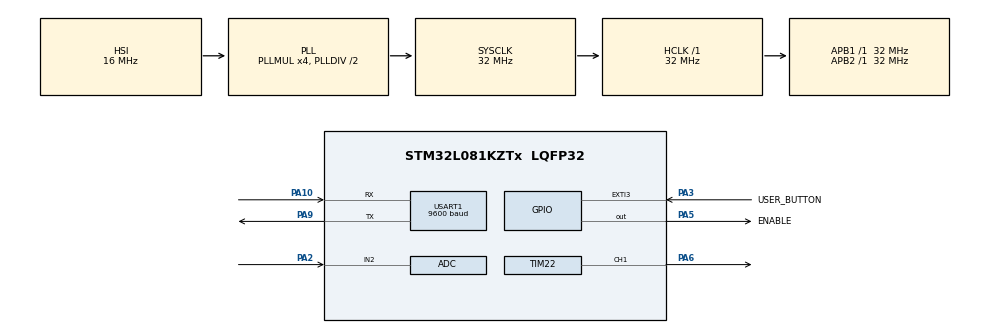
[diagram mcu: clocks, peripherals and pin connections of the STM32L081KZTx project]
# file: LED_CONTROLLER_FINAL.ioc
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Mcu.Family=STM32L0
Mcu.Name=STM32L081KZTx
Mcu.Package=LQFP32
NVIC.EXTI2_3_IRQn=true\:0\:0\:false\:false\:true\:true\:true
NVIC.TIM3_IRQn=true\:0\:0\:false\:false\:true\:true\:true
NVIC.USART1_IRQn=true\:0\:0\:false\:false\:true\:true\:true
PA10.Mode=Asynchronous
PA10.Signal=USART1_RX
PA13.Mode=Serial_Wire
PA13.Signal=SYS_SWDIO
PA14.Mode=Serial_Wire
PA14.Signal=SYS_SWCLK
PA2.Mode=IN2
PA2.Signal=ADC_IN2
PA3.GPIO_Label=USER_BUTTON
PA3.GPIO_ModeDefaultEXTI=GPIO_MODE_IT_FALLING
PA3.GPIO_PuPd=GPIO_PULLUP
PA3.Signal=GPXTI3
PA5.GPIO_Label=ENABLE
PA5.Signal=GPIO_Output
PA6.Signal=S_TIM22_CH1
PA9.Mode=Asynchronous
PA9.Signal=USART1_TX
ProjectManager.HeapSize=0x200
ProjectManager.StackSize=0x400
ProjectManager.TargetToolchain=SW4STM32
RCC.AHBFreq_Value=32000000
RCC.APB1Freq_Value=32000000
RCC.APB1TimFreq_Value=32000000
RCC.APB2Freq_Value=32000000
RCC.APB2TimFreq_Value=32000000
RCC.HCLKFreq_Value=32000000
RCC.HSI16_VALUE=16000000
RCC.HSI_VALUE=16000000
RCC.LSE_VALUE=32768
RCC.MSI_VALUE=2097000
RCC.PLLMUL=RCC_PLLMUL_4
RCC.SYSCLKFreq_VALUE=32000000
RCC.SYSCLKSource=RCC_SYSCLKSOURCE_PLLCLK
RCC.VCOOutputFreq_Value=64000000
SH.S_TIM22_CH1.0=TIM22_CH1,PWM Generation1 CH1
TIM22.AutoReloadPreload=TIM_AUTORELOAD_PRELOAD_ENABLE
TIM22.Channel-PWM\ Generation1\ CH1=TIM_CHANNEL_1
TIM22.Period=129
TIM22.Prescaler=1024
TIM3.AutoReloadPreload=TIM_AUTORELOAD_PRELOAD_ENABLE
TIM3.Period=5000
TIM3.Prescaler=32000
USART1.BaudRate=9600
USART1.VirtualMode-Asynchronous=VM_ASYNC
VP_TIM22_VS_ClockSourceINT.Mode=Internal
VP_TIM3_VS_ClockSourceINT.Mode=Internal
board=custom

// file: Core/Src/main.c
/* USER CODE BEGIN Header */
/**
  ******************************************************************************
  * @file           : main.c
  * @brief          : Main program body
  ******************************************************************************
  * @attention
  *
  * <h2><center>&copy; Copyright (c) 2021 STMicroelectronics.
  * All rights reserved.</center></h2>
  *
  * This software component is licensed by ST under BSD 3-Clause license,
  * the "License"; You may not use this file except in compliance with the
  * License. You may obtain a copy of the License at:
  *                        opensource.org/licenses/BSD-3-Clause
  *
  ******************************************************************************
  */
/* USER CODE END Header */
#include "main.h"

/* USER CODE BEGIN Includes */
#include "morse.h"
/* USER CODE END Includes */

/* USER CODE BEGIN PM */
#define Off 0		//0% power
#define Low 1		//25% power
#define Medium 2	//50% power
#define High 3		//75% power
#define Turbo 5		//100% power
#define MORSE 4
/* USER CODE END PM */

ADC_HandleTypeDef hadc;

TIM_HandleTypeDef htim3;
TIM_HandleTypeDef htim22;

UART_HandleTypeDef huart1;

/* USER CODE BEGIN PV */
uint8_t ucCharBuf = 0;		//Temporary buffer for each ASCII character
uint8_t ucCharStock[128];	//Buffer where all the ASCII characters are stored
uint16_t usDataArrived = 0;	//Variable will be set when all the data is received
uint16_t usSize = 0;		//Tracks the number of received ASCII characters

uint8_t ucMODE = Off; 		//Stores the mode current mode we are in
uint8_t uclastMode = Off; 	//Stores the mode we were in before the interrupt triggered by the switch
int8_t iPulse = 1; 			//Control variable to get into the full power mode
uint16_t usLastTime = 800;	//Stores the time between interrupts triggered by the switch
uint16_t usTime = 0; 		//Stores the amount of times TIM3 has rolled over
uint16_t AD_RES = 0;		//Stores the result of the adc measurement
uint16_t usLastCheck = 0; 	//Variable to signal for the adc to check the temp
/* USER CODE END PV */

void SystemClock_Config(void);
static void MX_GPIO_Init(void);
static void MX_TIM3_Init(void);
static void MX_TIM22_Init(void);
static void MX_USART1_UART_Init(void);
static void MX_ADC_Init(void);

int main(void)
{

  /* MCU Configuration--------------------------------------------------------*/

  /* Reset of all peripherals, Initializes the Flash interface and the Systick. */
  HAL_Init();

  /* Configure the system clock */
  SystemClock_Config();

  /* Initialize all configured peripherals */
  MX_GPIO_Init();
  MX_TIM3_Init();
  MX_TIM22_Init();
  MX_USART1_UART_Init();
  MX_ADC_Init();
  /* USER CODE BEGIN 2 */
  HAL_UART_Receive_IT( &huart1, &ucCharBuf, 1);
  HAL_TIM_PWM_Start(&htim22, TIM_CHANNEL_1);	//Start PWM generation
  HAL_TIM_Base_Start_IT(&htim3);
  HAL_GPIO_WritePin(ENABLE_GPIO_Port, ENABLE_Pin, GPIO_PIN_RESET);
  HAL_ADC_Start(&hadc);
  /* USER CODE END 2 */

  /* Infinite loop */
  while (1)
  {

    /* USER CODE BEGIN 3 */
	  /*if( usTime != usLastCheck )
	  	{
	  		HAL_ADC_PollForConversion(&hadc, 1);
	  		AD_RES = HAL_ADC_GetValue(&hadc);
	  		if(AD_RES > 2749)
	  		{
	  			ucMODE++;
	  			iPulse = 0;
	  			usTime = 0;
	  			TIM22->CCR1 = 0;
	  			HAL_Delay(400);
	  			TIM22->CCR1 = 131;
	  			HAL_Delay(400);
	  			TIM22->CCR1 = 0;
	  			HAL_Delay(400);
	  			TIM22->CCR1 = 131;
	  			HAL_Delay(400);
	  			TIM22->CCR1 = 0;
	  			HAL_Delay(400);
	  			TIM22->CCR1 = 131;
	  			HAL_Delay(400);
	  		}
	  		usLastCheck = usTime;
	  		HAL_Delay(5);
	  	}*/
	  if(uclastMode != ucMODE)
	  	{
	  		if( (  HAL_GetTick() - usLastTime ) < 400 )
	  		{
	  			ucMODE = Turbo;
	  			iPulse = -1;
	  		}
	  		else
	  		{
	  			if( ( uclastMode == MORSE ) || ( uclastMode == Turbo ))
	  			{
	  				for(uint8_t x = 124; x > 90; x--)
	  				{
	  					TIM22->CCR1 = x;
	  					HAL_Delay(100);
	  				}
	  			}
	  		}

	  		usLastTime = HAL_GetTick();
	  		uclastMode = ucMODE;
	  		iPulse++;
	  		TIM22->CCR1 = 0;
	  		HAL_Delay(5);
	  	  }
	  	  if(ucMODE == Off)
	  	  {
	  		  HAL_GPIO_WritePin(ENABLE_GPIO_Port, ENABLE_Pin, GPIO_PIN_SET);	//Disable LED driver
	  		  TIM22->CCR1 = 0; 								//Set Duty Cycle to 0%
	  	  }
	  	  if(ucMODE == Low)
	  	  {
	  		  HAL_GPIO_WritePin(ENABLE_GPIO_Port, ENABLE_Pin, GPIO_PIN_RESET);	//Enable LED driver
	  		  TIM22->CCR1 = 116; 							//Set Duty Cycle to 25%
	  	  }
	  	  if(ucMODE == Medium)
	  	  {
	  		  TIM22->CCR1 = 119; 							//Set Duty Cycle to 50%
	  	  }
	  	  if(ucMODE == High)
	  	  {
	  		  TIM22->CCR1 = 124; 							//Set Duty Cycle to 75%
	  	  }
	  	  if( ucMODE == MORSE )
	  	  {
	  		  uclastMode = ucMODE;
	  		  while( ( usDataArrived == 0 )  && ( ucMODE == uclastMode ) )
	  		  {
	  			  for( uint8_t x = 113; x < 123; x++ )
	  			  {
	  				  TIM22->CCR1 = x;
	  				  HAL_Delay(100);
	  			  }
	  			  for( uint8_t i = 123; i > 112; i-- )
	  			  {
	  				  TIM22->CCR1 = i;
	  				  HAL_Delay(100);
	  			  }
	  		  }
	  		  if( usDataArrived == 1 )
	  		  {
	  			  TIM22->CCR1 = 0;
	  			  vMorseConvert( ucCharStock, usSize );
	  			  for(uint8_t x = 0; x < usSize; x++)
	  			  {
	  				  ucCharStock[x] = 0;
	  			  }
	  			  usSize = 0;
	  			  //vMorseClearBuf( ucCharStock, usSize );
	  			  usDataArrived = 0;
	  		  }
	  	  }
	  	  if( ( ucMODE == Turbo ) && ( iPulse == 0 ) )
	  	  {
	  		  TIM22->CCR1 = 131; 							//Set Duty Cycle to 100%
	  	  }
	  	  if( (ucMODE == Turbo ) && ( usTime >= 24 ) )	//2 min ellapsed
	  	  {
	  		  ucMODE = Off;
	  		  iPulse = 0;
	  		  usTime = 0;
	  	  }
	  	  if( ( ucMODE == Turbo ) && (iPulse != 0 ) )
	  	  {
	  		  ucMODE = Off;
	  		  iPulse = 0;
	  		  usTime = 0;
	  	  }
	  	  if( ucMODE > Turbo )
	  	  {
	  		  ucMODE = Off;
	  		  iPulse = 0;
	  		  usTime = 0;
	  	  }
  }
  /* USER CODE END 3 */
}

void SystemClock_Config(void)
{
  RCC_OscInitTypeDef RCC_OscInitStruct = {0};
  RCC_ClkInitTypeDef RCC_ClkInitStruct = {0};
  RCC_PeriphCLKInitTypeDef PeriphClkInit = {0};

  /** Configure the main internal regulator output voltage
  */
  __HAL_PWR_VOLTAGESCALING_CONFIG(PWR_REGULATOR_VOLTAGE_SCALE1);
  /** Initializes the RCC Oscillators according to the specified parameters
  * in the RCC_OscInitTypeDef structure.
  */
  RCC_OscInitStruct.OscillatorType = RCC_OSCILLATORTYPE_HSI;
  RCC_OscInitStruct.HSIState = RCC_HSI_ON;
  RCC_OscInitStruct.HSICalibrationValue = RCC_HSICALIBRATION_DEFAULT;
  RCC_OscInitStruct.PLL.PLLState = RCC_PLL_ON;
  RCC_OscInitStruct.PLL.PLLSource = RCC_PLLSOURCE_HSI;
  RCC_OscInitStruct.PLL.PLLMUL = RCC_PLLMUL_4;
  RCC_OscInitStruct.PLL.PLLDIV = RCC_PLLDIV_2;
  if (HAL_RCC_OscConfig(&RCC_OscInitStruct) != HAL_OK)
  {
    Error_Handler();
  }
  /** Initializes the CPU, AHB and APB buses clocks
  */
  RCC_ClkInitStruct.ClockType = RCC_CLOCKTYPE_HCLK|RCC_CLOCKTYPE_SYSCLK
                              |RCC_CLOCKTYPE_PCLK1|RCC_CLOCKTYPE_PCLK2;
  RCC_ClkInitStruct.SYSCLKSource = RCC_SYSCLKSOURCE_PLLCLK;
  RCC_ClkInitStruct.AHBCLKDivider = RCC_SYSCLK_DIV1;
  RCC_ClkInitStruct.APB1CLKDivider = RCC_HCLK_DIV1;
  RCC_ClkInitStruct.APB2CLKDivider = RCC_HCLK_DIV1;

  if (HAL_RCC_ClockConfig(&RCC_ClkInitStruct, FLASH_LATENCY_1) != HAL_OK)
  {
    Error_Handler();
  }
  PeriphClkInit.PeriphClockSelection = RCC_PERIPHCLK_USART1;
  PeriphClkInit.Usart1ClockSelection = RCC_USART1CLKSOURCE_PCLK2;
  if (HAL_RCCEx_PeriphCLKConfig(&PeriphClkInit) != HAL_OK)
  {
    Error_Handler();
  }
}

static void MX_ADC_Init(void)
{

  ADC_ChannelConfTypeDef sConfig = {0};

  /** Configure the global features of the ADC (Clock, Resolution, Data Alignment and number of conversion)
  */
  hadc.Instance = ADC1;
  hadc.Init.OversamplingMode = DISABLE;
  hadc.Init.ClockPrescaler = ADC_CLOCK_SYNC_PCLK_DIV2;
  hadc.Init.Resolution = ADC_RESOLUTION_12B;
  hadc.Init.SamplingTime = ADC_SAMPLETIME_1CYCLE_5;
  hadc.Init.ScanConvMode = ADC_SCAN_DIRECTION_FORWARD;
  hadc.Init.DataAlign = ADC_DATAALIGN_RIGHT;
  hadc.Init.ContinuousConvMode = DISABLE;
  hadc.Init.DiscontinuousConvMode = DISABLE;
  hadc.Init.ExternalTrigConvEdge = ADC_EXTERNALTRIGCONVEDGE_NONE;
  hadc.Init.ExternalTrigConv = ADC_SOFTWARE_START;
  hadc.Init.DMAContinuousRequests = DISABLE;
  hadc.Init.EOCSelection = ADC_EOC_SINGLE_CONV;
  hadc.Init.Overrun = ADC_OVR_DATA_PRESERVED;
  hadc.Init.LowPowerAutoWait = DISABLE;
  hadc.Init.LowPowerFrequencyMode = DISABLE;
  hadc.Init.LowPowerAutoPowerOff = DISABLE;
  if (HAL_ADC_Init(&hadc) != HAL_OK)
  {
    Error_Handler();
  }
  /** Configure for the selected ADC regular channel to be converted.
  */
  sConfig.Channel = ADC_CHANNEL_2;
  sConfig.Rank = ADC_RANK_CHANNEL_NUMBER;
  if (HAL_ADC_ConfigChannel(&hadc, &sConfig) != HAL_OK)
  {
    Error_Handler();
  }

}

static void MX_TIM3_Init(void)
{

  TIM_ClockConfigTypeDef sClockSourceConfig = {0};
  TIM_MasterConfigTypeDef sMasterConfig = {0};

  htim3.Instance = TIM3;
  htim3.Init.Prescaler = 32000;
  htim3.Init.CounterMode = TIM_COUNTERMODE_UP;
  htim3.Init.Period = 5000;
  htim3.Init.ClockDivision = TIM_CLOCKDIVISION_DIV1;
  htim3.Init.AutoReloadPreload = TIM_AUTORELOAD_PRELOAD_ENABLE;
  if (HAL_TIM_Base_Init(&htim3) != HAL_OK)
  {
    Error_Handler();
  }
  sClockSourceConfig.ClockSource = TIM_CLOCKSOURCE_INTERNAL;
  if (HAL_TIM_ConfigClockSource(&htim3, &sClockSourceConfig) != HAL_OK)
  {
    Error_Handler();
  }
  sMasterConfig.MasterOutputTrigger = TIM_TRGO_RESET;
  sMasterConfig.MasterSlaveMode = TIM_MASTERSLAVEMODE_DISABLE;
  if (HAL_TIMEx_MasterConfigSynchronization(&htim3, &sMasterConfig) != HAL_OK)
  {
    Error_Handler();
  }

}

static void MX_TIM22_Init(void)
{

  TIM_ClockConfigTypeDef sClockSourceConfig = {0};
  TIM_MasterConfigTypeDef sMasterConfig = {0};
  TIM_OC_InitTypeDef sConfigOC = {0};

  htim22.Instance = TIM22;
  htim22.Init.Prescaler = 1024;
  htim22.Init.CounterMode = TIM_COUNTERMODE_UP;
  htim22.Init.Period = 129;
  htim22.Init.ClockDivision = TIM_CLOCKDIVISION_DIV1;
  htim22.Init.AutoReloadPreload = TIM_AUTORELOAD_PRELOAD_ENABLE;
  if (HAL_TIM_Base_Init(&htim22) != HAL_OK)
  {
    Error_Handler();
  }
  sClockSourceConfig.ClockSource = TIM_CLOCKSOURCE_INTERNAL;
  if (HAL_TIM_ConfigClockSource(&htim22, &sClockSourceConfig) != HAL_OK)
  {
    Error_Handler();
  }
  if (HAL_TIM_PWM_Init(&htim22) != HAL_OK)
  {
    Error_Handler();
  }
  sMasterConfig.MasterOutputTrigger = TIM_TRGO_RESET;
  sMasterConfig.MasterSlaveMode = TIM_MASTERSLAVEMODE_DISABLE;
  if (HAL_TIMEx_MasterConfigSynchronization(&htim22, &sMasterConfig) != HAL_OK)
  {
    Error_Handler();
  }
  sConfigOC.OCMode = TIM_OCMODE_PWM1;
  sConfigOC.Pulse = 0;
  sConfigOC.OCPolarity = TIM_OCPOLARITY_HIGH;
  sConfigOC.OCFastMode = TIM_OCFAST_DISABLE;
  if (HAL_TIM_PWM_ConfigChannel(&htim22, &sConfigOC, TIM_CHANNEL_1) != HAL_OK)
  {
    Error_Handler();
  }
  HAL_TIM_MspPostInit(&htim22);

}

static void MX_USART1_UART_Init(void)
{

  huart1.Instance = USART1;
  huart1.Init.BaudRate = 9600;
  huart1.Init.WordLength = UART_WORDLENGTH_8B;
  huart1.Init.StopBits = UART_STOPBITS_1;
  huart1.Init.Parity = UART_PARITY_NONE;
  huart1.Init.Mode = UART_MODE_TX_RX;
  huart1.Init.HwFlowCtl = UART_HWCONTROL_NONE;
  huart1.Init.OverSampling = UART_OVERSAMPLING_16;
  huart1.Init.OneBitSampling = UART_ONE_BIT_SAMPLE_DISABLE;
  huart1.AdvancedInit.AdvFeatureInit = UART_ADVFEATURE_NO_INIT;
  if (HAL_UART_Init(&huart1) != HAL_OK)
  {
    Error_Handler();
  }

}

static void MX_GPIO_Init(void)
{
  GPIO_InitTypeDef GPIO_InitStruct = {0};

  /* GPIO Ports Clock Enable */
  __HAL_RCC_GPIOA_CLK_ENABLE();

  /*Configure GPIO pin Output Level */
  HAL_GPIO_WritePin(ENABLE_GPIO_Port, ENABLE_Pin, GPIO_PIN_RESET);

  /*Configure GPIO pin : USER_BUTTON_Pin */
  GPIO_InitStruct.Pin = USER_BUTTON_Pin;
  GPIO_InitStruct.Mode = GPIO_MODE_IT_FALLING;
  GPIO_InitStruct.Pull = GPIO_PULLUP;
  HAL_GPIO_Init(USER_BUTTON_GPIO_Port, &GPIO_InitStruct);

  /*Configure GPIO pin : ENABLE_Pin */
  GPIO_InitStruct.Pin = ENABLE_Pin;
  GPIO_InitStruct.Mode = GPIO_MODE_OUTPUT_PP;
  GPIO_InitStruct.Pull = GPIO_NOPULL;
  GPIO_InitStruct.Speed = GPIO_SPEED_FREQ_LOW;
  HAL_GPIO_Init(ENABLE_GPIO_Port, &GPIO_InitStruct);

  /* EXTI interrupt init*/
  HAL_NVIC_SetPriority(EXTI2_3_IRQn, 0, 0);
  HAL_NVIC_EnableIRQ(EXTI2_3_IRQn);

}

/* USER CODE BEGIN 4 */
void HAL_GPIO_EXTI_Callback( uint16_t GPIO_Pin )
{
	if(GPIO_Pin == USER_BUTTON_Pin)
	{
		ucMODE++;
	}
}

void HAL_UART_RxCpltCallback( UART_HandleTypeDef *huart )
{
	HAL_UART_Receive_IT( &huart1, &ucCharBuf, 1 );
	if( ucCharBuf == '\n')
	{
		usDataArrived = 1;
	}
	else
	{
		ucCharStock[usSize] = ucCharBuf;
		usSize++;
	}
}
void HAL_TIM_PeriodElapsedCallback(TIM_HandleTypeDef *htim)
{
  // Check which version of the timer triggered this callback and toggle LED
  if( ( htim == &htim3  ) && ( ucMODE == Turbo ) )
  {
	  usTime++;
  }
}
/* USER CODE END 4 */

void Error_Handler(void)
{
}

/************************ (C) COPYRIGHT STMicroelectronics *****END OF FILE****/
